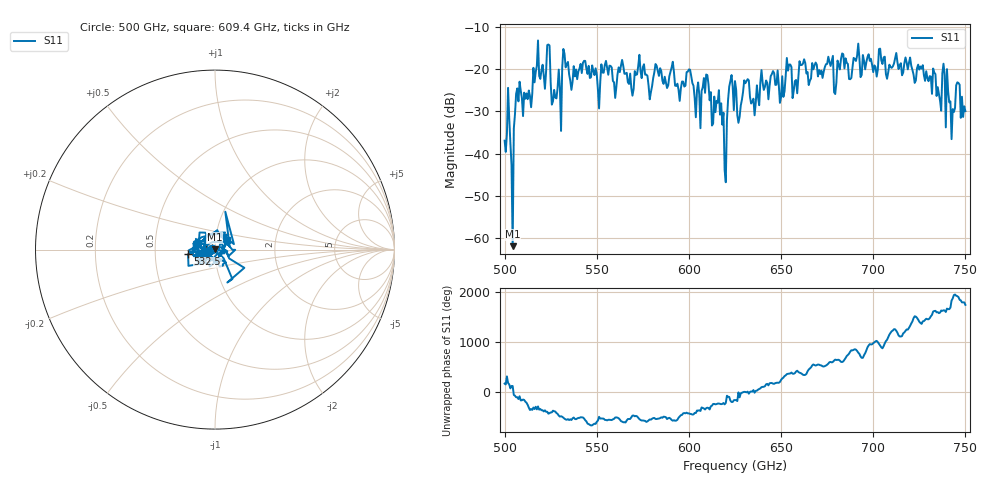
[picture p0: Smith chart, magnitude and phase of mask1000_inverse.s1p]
!Created with skrf (http://scikit-rf.org).
# GHz S MA R 50.0
!freq magS11 angS11
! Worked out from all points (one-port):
!   401 points, 500 GHz to 750 GHz, reference 50 ohm
!   lowest |S11| = -62.0 dB at 504.4 GHz (marker M1), VSWR 1.00, Z = 50 + j0.0681 ohm
!   |S11| at or under -10 dB: start of sweep to end of sweep
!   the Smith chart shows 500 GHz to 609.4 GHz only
!   S11 on the Smith chart (normalised r, x): 500 GHz: 0.97, +0.00; 532.5 GHz: 0.74, -0.04; 609.4 GHz: 1.13, +0.13
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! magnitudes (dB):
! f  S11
! 500 GHz  -36.9
! 501.9 GHz  -24.5
! 504.4 GHz  -62.0
! 507.5 GHz  -27.6
! 513.8 GHz  -26.4
! 516.9 GHz  -20.7
! 523.8 GHz  -14.2
! 526.9 GHz  -24.9
! 531.2 GHz  -19.7
! 532.5 GHz  -16.4
! 550.6 GHz  -24.8
! 562.5 GHz  -20.7
! 579.4 GHz  -25.5
! 590.6 GHz  -19.6
! 593.8 GHz  -23.5
! 600 GHz  -20.1
! 605 GHz  -23.2
! 609.4 GHz  -21.3
! 617.5 GHz  -28.1
! 619.4 GHz  -43.9
! 622.5 GHz  -22.8
! 625 GHz  -22.8
! 627.5 GHz  -31.3
! 656.2 GHz  -26.9
! 687.5 GHz  -22.4
! 690.6 GHz  -18.1
! 718.8 GHz  -20.1
! 750 GHz  -29.9
